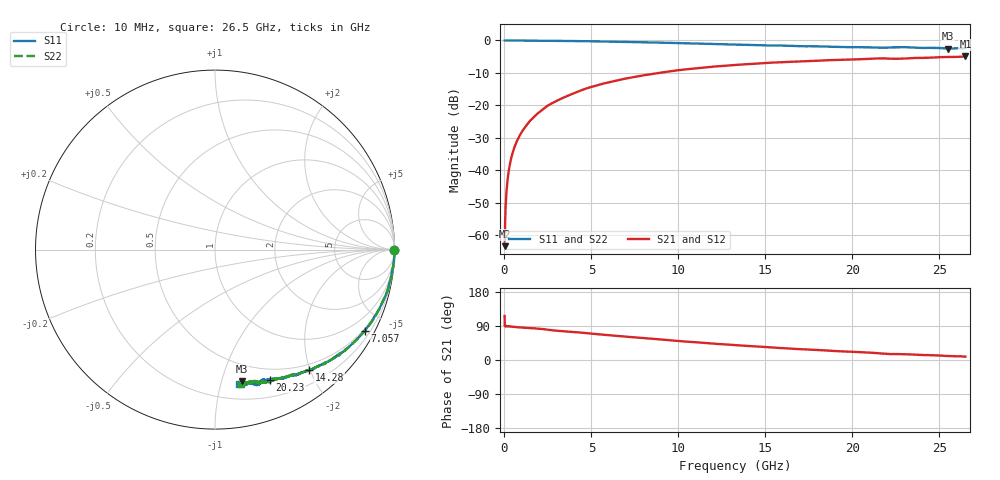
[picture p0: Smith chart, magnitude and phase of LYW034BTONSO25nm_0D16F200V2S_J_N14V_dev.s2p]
!Keysight Technologies,N5222B,MY61253708,A.15.00.15
!Date: Wednesday, June 19, 2024 08:44:55
!Correction: S11(C  2-Port  )
!S21(C  2-Port  )
!S12(C  2-Port  )
!S22(C  2-Port  )
!S2P File: Measurements: S11, S21, S12, S22:
# Hz S  RI  R 50
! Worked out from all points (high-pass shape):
!   2651 points, 10 MHz to 26.5 GHz, reference 50 ohm
!   highest |S21| = -4.93 dB at 26.5 GHz (marker M1); lowest = -63.3 dB at 20 MHz (marker M2)
!   |S21| within 3 dB of the highest: 12.34 GHz to end of sweep
!   lowest |S11| = -2.5 dB at 25.5 GHz (marker M3), VSWR 6.98, Z = 17.3 - j58.1 ohm
!   |S11| at or under -10 dB: nowhere
!   |S22| runs from -2.4 to 0.0 dB; largest |S21 - S12| = 0.0083
!   S11 on the Smith chart (normalised r, x): 10 MHz: open; 7.057 GHz: 0.43, -3.90; 14.28 GHz: 0.40, -1.98; 20.23 GHz: 0.38, -1.44; 26.5 GHz: 0.32, -1.14
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1e7  0.9986 -0.00253  -0.000312 0.000632  -0.000271 0.000318  0.9984 -0.000944
1.999623e7  0.9991 -0.00221  -8.38e-06 0.000685  -3.06e-05 0.000756  0.9994 -0.00213
8.996981e7  0.9998 -0.00651  1.94e-05 0.00359  4.34e-05 0.00359  0.9994 -0.00612
1.599434e8  0.9997 -0.0126  8.88e-05 0.00637  9.48e-05 0.00637  0.9995 -0.0118
2.099245e8  0.9997 -0.0159  0.000155 0.00835  0.000151 0.00836  0.9993 -0.0152
2.699019e8  0.9995 -0.0207  0.000258 0.0107  0.000291 0.0107  0.9997 -0.0197
3.698642e8  0.9993 -0.0283  0.00046 0.0147  0.000479 0.0147  0.9991 -0.0273
5.098113e8  0.9988 -0.038  0.000842 0.0202  0.000817 0.0202  0.9991 -0.0372
8.796717e8  0.997 -0.0655  0.00238 0.0345  0.00238 0.0346  0.9965 -0.0642
1.489442e9  0.9877 -0.111  0.00596 0.0584  0.006 0.0585  0.9909 -0.1072
2.349117e9  0.9763 -0.169  0.0147 0.0924  0.0149 0.0926  0.9781 -0.1687
3.208792e9  0.9606 -0.2284  0.0292 0.1218  0.0292 0.1221  0.9612 -0.2269
4.428332e9  0.9268 -0.3061  0.0524 0.1637  0.0526 0.1642  0.9291 -0.3027
7.05734e9  0.8343 -0.4515  0.1254 0.2294  0.1266 0.2298  0.837 -0.4489
8.846664e9  0.7597 -0.5294  0.183 0.2583  0.1841 0.2588  0.7623 -0.5271
1.3255e10  0.5669 -0.653  0.3244 0.266  0.3262 0.2657  0.5715 -0.6516
1.428461e10  0.5243 -0.6727  0.3524 0.2587  0.3542 0.258  0.5297 -0.6683
1.767333e10  0.3901 -0.7117  0.4303 0.2199  0.4333 0.2185  0.4027 -0.7101
2.023237e10  0.3066 -0.7247  0.4783 0.1834  0.4799 0.182  0.3213 -0.7257
2.209166e10  0.261 -0.7283  0.5055 0.1447  0.5066 0.1425  0.2565 -0.736
2.550038e10  0.1489 -0.7345  0.547 0.1003  0.5482 0.1016  0.17 -0.7416
2.65e10  0.1318 -0.749  0.56 0.0887  0.5584 0.0859  0.1448 -0.7501
